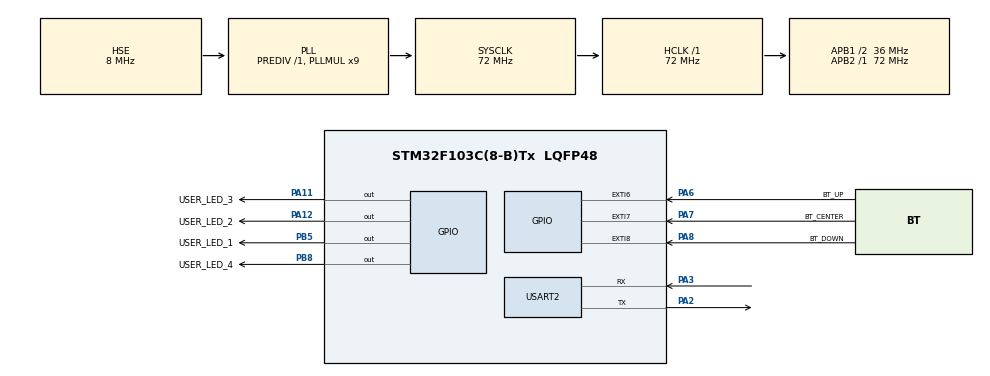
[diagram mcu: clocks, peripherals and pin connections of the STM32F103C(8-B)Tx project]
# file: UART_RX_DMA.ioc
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Dma.Request0=USART2_RX
Dma.Request1=USART2_TX
Dma.USART2_RX.0.Direction=DMA_PERIPH_TO_MEMORY
Dma.USART2_RX.0.Instance=DMA1_Channel6
Dma.USART2_RX.0.MemDataAlignment=DMA_MDATAALIGN_BYTE
Dma.USART2_RX.0.MemInc=DMA_MINC_ENABLE
Dma.USART2_RX.0.Mode=DMA_CIRCULAR
Dma.USART2_RX.0.PeriphDataAlignment=DMA_PDATAALIGN_BYTE
Dma.USART2_RX.0.PeriphInc=DMA_PINC_DISABLE
Dma.USART2_RX.0.Priority=DMA_PRIORITY_VERY_HIGH
Dma.USART2_TX.1.Direction=DMA_MEMORY_TO_PERIPH
Dma.USART2_TX.1.Instance=DMA1_Channel7
Dma.USART2_TX.1.MemDataAlignment=DMA_MDATAALIGN_BYTE
Dma.USART2_TX.1.MemInc=DMA_MINC_ENABLE
Dma.USART2_TX.1.Mode=DMA_NORMAL
Dma.USART2_TX.1.PeriphDataAlignment=DMA_PDATAALIGN_BYTE
Dma.USART2_TX.1.PeriphInc=DMA_PINC_DISABLE
Dma.USART2_TX.1.Priority=DMA_PRIORITY_VERY_HIGH
Mcu.Family=STM32F1
Mcu.Name=STM32F103C(8-B)Tx
Mcu.Package=LQFP48
NVIC.DMA1_Channel6_IRQn=true\:1\:0\:true\:false\:true\:false\:true
NVIC.DMA1_Channel7_IRQn=true\:1\:0\:true\:false\:true\:false\:true
NVIC.EXTI9_5_IRQn=true\:2\:0\:true\:false\:true\:true\:true
NVIC.PriorityGroup=NVIC_PRIORITYGROUP_4
NVIC.TIM4_IRQn=true\:0\:0\:false\:false\:true\:false\:true
NVIC.TimeBase=TIM4_IRQn
NVIC.TimeBaseIP=TIM4
NVIC.USART2_IRQn=true\:0\:0\:false\:false\:true\:true\:true
PA11.GPIO_Label=USER_LED_3
PA11.Signal=GPIO_Output
PA12.GPIO_Label=USER_LED_2
PA12.Signal=GPIO_Output
PA13.Mode=Serial_Wire
PA13.Signal=SYS_JTMS-SWDIO
PA14.Mode=Serial_Wire
PA14.Signal=SYS_JTCK-SWCLK
PA2.Mode=Asynchronous
PA2.Signal=USART2_TX
PA3.Mode=Asynchronous
PA3.Signal=USART2_RX
PA6.GPIO_Label=BT_UP
PA6.GPIO_ModeDefaultEXTI=GPIO_MODE_IT_FALLING
PA6.GPIO_PuPd=GPIO_PULLUP
PA6.Signal=GPXTI6
PA7.GPIO_Label=BT_CENTER
PA7.GPIO_ModeDefaultEXTI=GPIO_MODE_IT_FALLING
PA7.GPIO_PuPd=GPIO_PULLUP
PA7.Signal=GPXTI7
PA8.GPIO_Label=BT_DOWN
PA8.GPIO_ModeDefaultEXTI=GPIO_MODE_IT_FALLING
PA8.GPIO_PuPd=GPIO_PULLUP
PA8.Signal=GPXTI8
PB5.GPIO_Label=USER_LED_1
PB5.Signal=GPIO_Output
PB8.GPIO_Label=USER_LED_4
PB8.Signal=GPIO_Output
PD0-OSC_IN.Mode=HSE-External-Oscillator
PD0-OSC_IN.Signal=RCC_OSC_IN
PD1-OSC_OUT.Mode=HSE-External-Oscillator
PD1-OSC_OUT.Signal=RCC_OSC_OUT
ProjectManager.HeapSize=0x200
ProjectManager.StackSize=0x400
ProjectManager.TargetToolchain=STM32CubeIDE
RCC.AHBFreq_Value=72000000
RCC.APB1CLKDivider=RCC_HCLK_DIV2
RCC.APB1Freq_Value=36000000
RCC.APB1TimFreq_Value=72000000
RCC.APB2Freq_Value=72000000
RCC.APB2TimFreq_Value=72000000
RCC.HCLKFreq_Value=72000000
RCC.PLLMUL=RCC_PLL_MUL9
RCC.PLLSourceVirtual=RCC_PLLSOURCE_HSE
RCC.SYSCLKFreq_VALUE=72000000
RCC.SYSCLKSource=RCC_SYSCLKSOURCE_PLLCLK
RCC.USBFreq_Value=72000000
USART2.VirtualMode=VM_ASYNC
VP_SYS_VS_tim4.Mode=TIM4
board=custom

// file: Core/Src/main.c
/* USER CODE BEGIN Header */
/**
 *******************************************************************************
 * @file           : main.c
 * @brief          : Main program body
 ******************************************************************************
 * @attention
 *
 * <h2><center>&copy; Copyright (c) 2020 STMicroelectronics.
 * All rights reserved.</center></h2>
 *
 * This software component is licensed by ST under Ultimate Liberty license
 * SLA0044, the "License"; You may not use this file except in compliance with
 * the License. You may obtain a copy of the License at:
 *                             www.st.com/SLA0044
 *
 ******************************************************************************
 */
/* USER CODE END Header */
#include "main.h"

/* USER CODE BEGIN Includes */
//#include "myLib.h"
/* USER CODE END Includes */

/* USER CODE BEGIN PV */

/* Buffer that store USART data via DMA */

volatile uint8_t usart_dma_rx_buffer[USART_DMA_RX_BUFFER_SIZE];

uint8_t usart_rx_data[USART_DMA_RX_BUFFER_SIZE];
/* Total Error during init procedure */

/* Store pos in string */
static volatile char aPos[5];

/* Use in SUPERLOOP */
static uint32_t prev_halt_led_tick;
static uint32_t prev_menu_tick;

/* USART Pointer offset */
uint32_t prev_dma_pos = 0;
uint32_t current_dma_pos = 0;
/* USER CODE END PV */

void SystemClock_Config(void);
static void MX_GPIO_Init(void);
static void MX_USART2_UART_Init(void);
/* USER CODE BEGIN PFP */
void DMAPostUpdate(void);
uint8_t isNewString(void);
static void parseCLI(uint8_t *str);
/* USER CODE END PFP */

int main(void)
{

	/* MCU Configuration--------------------------------------------------------*/

	/* Reset of all peripherals, Initializes the Flash interface and the Systick. */
	HAL_Init();

	/* Configure the system clock */
	SystemClock_Config();

	/* Initialize all configured peripherals */
	MX_GPIO_Init();
	MX_USART2_UART_Init();
	offAllLed;
	/* USER CODE BEGIN 2 */

	prev_halt_led_tick = HAL_GetTick();
	prev_menu_tick = HAL_GetTick();
	/* USER CODE END 2 */

	/* Infinite loop */
	/* USER CODE BEGIN WHILE */
	PRINTF("################################################################################################\r\n");
	PRINTF("Project name: UART_DMA_RX_IT-TERMINAL_COMMAND\r\n");
	PRINTF("**********************************SHORT DESCRIPTION******************************\r\n");
	PRINTF("This project provides users with USART-CLI, using DMA_RX_HC_TC_IT and USART_IDLE ");
	PRINTF("method to receive user input data, type \"help\"to view all supported command \r\n");
	PRINTF("*********************************************************************************\r\n");
	PRINTF("Run Application\r\n");
	while (1)
	{

		if (HAL_GetTick() - prev_halt_led_tick >= LED_CHECK_HALT_DELAY)
		{
			prev_halt_led_tick = HAL_GetTick();
			toggleLed4;
		}

		if (HAL_GetTick() - prev_menu_tick >= USART_MENU_DELAY)
		{
			if (isNewString())
			{
				parseCLI((uint8_t *)usart_rx_data);
			}
			prev_menu_tick = HAL_GetTick();
		}
	}
}

void SystemClock_Config(void)
{
	RCC_OscInitTypeDef RCC_OscInitStruct = {0};
	RCC_ClkInitTypeDef RCC_ClkInitStruct = {0};

	/** Initializes the RCC Oscillators according to the specified parameters
	 * in the RCC_OscInitTypeDef structure.
	 */
	RCC_OscInitStruct.OscillatorType = RCC_OSCILLATORTYPE_HSE;
	RCC_OscInitStruct.HSEState = RCC_HSE_ON;
	RCC_OscInitStruct.HSEPredivValue = RCC_HSE_PREDIV_DIV1;
	RCC_OscInitStruct.HSIState = RCC_HSI_ON;
	RCC_OscInitStruct.PLL.PLLState = RCC_PLL_ON;
	RCC_OscInitStruct.PLL.PLLSource = RCC_PLLSOURCE_HSE;
	RCC_OscInitStruct.PLL.PLLMUL = RCC_PLL_MUL9;
	if (HAL_RCC_OscConfig(&RCC_OscInitStruct) != HAL_OK)
	{
		Error_Handler();
	}
	/** Initializes the CPU, AHB and APB buses clocks
	 */
	RCC_ClkInitStruct.ClockType = RCC_CLOCKTYPE_HCLK | RCC_CLOCKTYPE_SYSCLK | RCC_CLOCKTYPE_PCLK1 | RCC_CLOCKTYPE_PCLK2;
	RCC_ClkInitStruct.SYSCLKSource = RCC_SYSCLKSOURCE_PLLCLK;
	RCC_ClkInitStruct.AHBCLKDivider = RCC_SYSCLK_DIV1;
	RCC_ClkInitStruct.APB1CLKDivider = RCC_HCLK_DIV2;
	RCC_ClkInitStruct.APB2CLKDivider = RCC_HCLK_DIV1;
	if (HAL_RCC_ClockConfig(&RCC_ClkInitStruct, FLASH_LATENCY_2) != HAL_OK)
	{
		Error_Handler();
	}
}

static void MX_USART2_UART_Init(void)
{
	/* USER CODE BEGIN USART2_Init 0 */
	/* LL_DMA_InitTypeDef DMA_TX_Handle = {0}; */
	LL_DMA_InitTypeDef DMA_RX_Handle = {0};
	LL_USART_InitTypeDef USART_InitStruct = {0};
	LL_GPIO_InitTypeDef GPIO_InitStruct = {0};

	/* Peripheral clock enable */
	LL_APB1_GRP1_EnableClock(LL_APB1_GRP1_PERIPH_USART2);
	LL_APB2_GRP1_EnableClock(LL_APB2_GRP1_PERIPH_GPIOA);
	LL_AHB1_GRP1_EnableClock(LL_AHB1_GRP1_PERIPH_DMA1);

	HAL_NVIC_SetPriorityGrouping(NVIC_PRIORITYGROUP_4);
	/*
	 * USART2 GPIO Configuration
	 * PA2   ------> USART2_TX
	 * PA3   ------> USART2_RX
	 */
	GPIO_InitStruct.Pin = LL_GPIO_PIN_2;
	GPIO_InitStruct.Mode = LL_GPIO_MODE_ALTERNATE;
	GPIO_InitStruct.Speed = LL_GPIO_MODE_OUTPUT_50MHz;
	GPIO_InitStruct.OutputType = LL_GPIO_OUTPUT_PUSHPULL;
	LL_GPIO_Init(GPIOA, &GPIO_InitStruct);

	GPIO_InitStruct.Pin = LL_GPIO_PIN_3;
	GPIO_InitStruct.Mode = LL_GPIO_MODE_FLOATING;
	LL_GPIO_Init(GPIOA, &GPIO_InitStruct);

	/* USART2 DMA Init */
	/* Configure DMA for USART RX - DMA channel 6 */

	LL_DMA_StructInit(&DMA_RX_Handle);
	/* Configure target buffer that DMA will copy data from USART_RX into this */
	DMA_RX_Handle.MemoryOrM2MDstAddress = (uint32_t)usart_dma_rx_buffer;
	DMA_RX_Handle.PeriphOrM2MSrcAddress = (uint32_t)&USART2->DR;
	/* Configure number of data DMA have to send before reach Transfer Completed IT */
	DMA_RX_Handle.NbData = USART_DMA_RX_BUFFER_SIZE;
	DMA_RX_Handle.Priority = LL_DMA_PRIORITY_VERYHIGH;
	DMA_RX_Handle.Direction = LL_DMA_DIRECTION_PERIPH_TO_MEMORY;
	DMA_RX_Handle.Mode = LL_DMA_MODE_CIRCULAR;
	DMA_RX_Handle.MemoryOrM2MDstIncMode = LL_DMA_MEMORY_INCREMENT;
	DMA_RX_Handle.PeriphOrM2MSrcIncMode = LL_DMA_PERIPH_NOINCREMENT;
	DMA_RX_Handle.PeriphOrM2MSrcDataSize = LL_DMA_PDATAALIGN_BYTE;
	DMA_RX_Handle.MemoryOrM2MDstDataSize = LL_DMA_MDATAALIGN_BYTE;
	LL_DMA_Init(DMA1, LL_DMA_CHANNEL_6, &DMA_RX_Handle);

	/* Enable DMA1 Channel 6 Tranmission Complete Interrupt - bit mask DMA_CCR_TCIE & DMA_CCR_HTIE*/
	/* Enable HT & TC interrupts */
	LL_DMA_EnableIT_HT(DMA1, LL_DMA_CHANNEL_6);
	LL_DMA_EnableIT_TC(DMA1, LL_DMA_CHANNEL_6);

	/* DMA1_Channel6_IRQn interrupt configuration */
	HAL_NVIC_SetPriority(DMA1_Channel6_IRQn, 0, 0);
	HAL_NVIC_EnableIRQ(DMA1_Channel6_IRQn);

	/* USER CODE BEGIN USART2_Init 1 */
	USART_InitStruct.BaudRate = 115200;
	USART_InitStruct.DataWidth = LL_USART_DATAWIDTH_8B;
	USART_InitStruct.StopBits = LL_USART_STOPBITS_1;
	USART_InitStruct.Parity = LL_USART_PARITY_NONE;
	USART_InitStruct.TransferDirection = LL_USART_DIRECTION_TX_RX;
	USART_InitStruct.HardwareFlowControl = LL_USART_HWCONTROL_NONE;
	USART_InitStruct.OverSampling = LL_USART_OVERSAMPLING_16;
	LL_USART_Init(USART2, &USART_InitStruct);

	/* Enabling use in Asynchronous Mode (UART) */
	LL_USART_ConfigAsyncMode(USART2);
	/* Enable RX DMA Request - bitmask USART_CR3_DMAR*/
	LL_USART_EnableDMAReq_RX(USART2);
	/* Enable IDLE Interrupt - bitmask USART_CR1_IDLEIE*/
	LL_USART_EnableIT_IDLE(USART2);

	/* USART2 interrupt Init */
	HAL_NVIC_SetPriority(USART2_IRQn, 0, 0);
	HAL_NVIC_EnableIRQ(USART2_IRQn);

	/* Start USART2 - bitmask USART_CR1_UE */
	LL_USART_Enable(USART2);
	/* Enable DMA USART RX Stream DMA_CCR_EN*/
	LL_DMA_EnableChannel(DMA1, LL_DMA_CHANNEL_6);
}

static void MX_GPIO_Init(void)
{
	GPIO_InitTypeDef GPIO_InitStruct = {0};

	/* GPIO Ports Clock Enable */
	__HAL_RCC_GPIOD_CLK_ENABLE();
	__HAL_RCC_GPIOA_CLK_ENABLE();
	__HAL_RCC_GPIOB_CLK_ENABLE();

	/*Configure GPIO pin Output Level */
	HAL_GPIO_WritePin(GPIOA, USER_LED_3_Pin | USER_LED_2_Pin, GPIO_PIN_RESET);

	/*Configure GPIO pin Output Level */
	HAL_GPIO_WritePin(GPIOB, USER_LED_1_Pin | USER_LED_4_Pin, GPIO_PIN_RESET);

	/*Configure GPIO pins : BT_UP_Pin BT_CENTER_Pin BT_DOWN_Pin */
	GPIO_InitStruct.Pin = BT_UP_Pin | BT_CENTER_Pin | BT_DOWN_Pin;
	GPIO_InitStruct.Mode = GPIO_MODE_IT_FALLING;
	GPIO_InitStruct.Pull = GPIO_PULLUP;
	HAL_GPIO_Init(GPIOA, &GPIO_InitStruct);

	/*Configure GPIO pins : USER_LED_3_Pin USER_LED_2_Pin */
	GPIO_InitStruct.Pin = USER_LED_3_Pin | USER_LED_2_Pin;
	GPIO_InitStruct.Mode = GPIO_MODE_OUTPUT_PP;
	GPIO_InitStruct.Pull = GPIO_NOPULL;
	GPIO_InitStruct.Speed = GPIO_SPEED_FREQ_LOW;
	HAL_GPIO_Init(GPIOA, &GPIO_InitStruct);

	/*Configure GPIO pins : USER_LED_1_Pin USER_LED_4_Pin */
	GPIO_InitStruct.Pin = USER_LED_1_Pin | USER_LED_4_Pin;
	GPIO_InitStruct.Mode = GPIO_MODE_OUTPUT_PP;
	GPIO_InitStruct.Pull = GPIO_NOPULL;
	GPIO_InitStruct.Speed = GPIO_SPEED_FREQ_LOW;
	HAL_GPIO_Init(GPIOB, &GPIO_InitStruct);

	/* EXTI interrupt init*/
	HAL_NVIC_SetPriority(EXTI9_5_IRQn, 2, 0);
	HAL_NVIC_EnableIRQ(EXTI9_5_IRQn);
}

/* USER CODE BEGIN 4 */
void DMAPostUpdate(void)
{
	toggleLed1;
	/* Calculate current position in buffer */
	/**
	 * LL_DMA_GetDataLength() returns number of slot left in DMA buffer
	 * ex: user string has its length = 15, DMA buffer's full size is 100 then after transfer completed the number of slot left is 100-15=85
	 * ==> DMA currently points to position number 15
	 */
	current_dma_pos = USART_DMA_RX_BUFFER_SIZE - LL_DMA_GetDataLength(DMA1, LL_DMA_CHANNEL_6);
}

/**
 * @brief Parse user string into a buffer
 *
 * @return uint8_t 1 if receive a new string, else return 0
 */
uint8_t isNewString(void)
{
	uint32_t index = 0, i = 0;
	uint8_t is_new_string_flag = 0;
	if (current_dma_pos != prev_dma_pos)
	{
		/* Check change in received data */
		printVar(prev_dma_pos);
		printVar(current_dma_pos);

		/* New string received flag set */
		is_new_string_flag = 1;

		/* Reset USART received_buffer */
		memset(usart_rx_data, 0, USART_DMA_RX_BUFFER_SIZE);
		if (current_dma_pos > prev_dma_pos)
		/* Case 1: DMA's not full and data is added to the right */
		{
			/*
				FCurrent position is over previous one
			 	We are in "linear" mode
				Process data directly by subtracting "pointers"
 			*/
			for (i = prev_dma_pos; i < current_dma_pos; i++)
			{
				usart_rx_data[index] = usart_dma_rx_buffer[i];
				index++;
			}
		}
		else
		/* current_dma_pos < prev_dma_pos: Case 2: DMA's is overflow and DMA points back to base position*/
		{
			/* We are in "overflow" mode */

			/* First process data to the end of buffer */
			for (i = prev_dma_pos; i < USART_DMA_RX_BUFFER_SIZE; i++)
			{
				usart_rx_data[index] = usart_dma_rx_buffer[i];
				index++;
			}
			/* Then process from begin to current position */
			for (i = 0; i < current_dma_pos; i++)
			{
				usart_rx_data[index] = usart_dma_rx_buffer[i];
				index++;
			}
		}
		/* current position becomes old one */
		prev_dma_pos = current_dma_pos;
	}
	/* Check and manually update if we reached end of buffer */
	if (prev_dma_pos == USART_DMA_RX_BUFFER_SIZE)
	{
		prev_dma_pos = 0;
	}
	return is_new_string_flag;
}

/**
 * @brief Compare user string to proceed a command if equal
 *
 * @param str
 */
static void parseCLI(uint8_t *str)
{
	PRINTF(usart_rx_data);
	newline;
	if (isString(str, "led3 1\r"))
	{
		onLed3;
		return;
	}
	if (isString(str, "led3 0\r"))
	{
		offLed3;
		return;
	}
	if (isString(str, "led2 1\r"))
	{
		onLed2;
		return;
	}
	if (isString(str, "led2 0\rn"))
	{
		offLed2;
		return;
	}
	if (isString(str, "leds 1\r"))
	{
		onAllLed;
		return;
	}
	if (isString(str, "leds 0\r"))
	{
		offAllLed;
		return;
	}
	if (isString(str, "help\r"))
	{
		newline;
		PRINTF("---------HELP MENU---------\r\n");
		PRINTF("leds <state>: control state of all leds\r\n");
		PRINTF("led<x> <state>: control state of led x\r\n");
		PRINTF("1: ON, 0: OFF\r\n\r\n");
		return;
	}
	PRINTF("ERROR: unknown command");
	newline;
	newline;
}
/* USER CODE END 4 */

void HAL_TIM_PeriodElapsedCallback(TIM_HandleTypeDef *htim)
{
	if (htim->Instance == TIM4)
	{
		HAL_IncTick();
	}
}

void Error_Handler(void)
{
}

#ifdef USE_FULL_ASSERT
/**
  * @brief  Reports the name of the source file and the source line number
  *         where the assert_param error has occurred.
  * @param  file: pointer to the source file name
  * @param  line: assert_param error line source number
  * @retval None
  */
void assert_failed(uint8_t *file, uint32_t line)
{
	/* USER CODE BEGIN 6 */
	/* User can add his own implementation to report the file name and line number,
     tex: PRINTF("Wrong parameters value: file %s on line %d\r\n", file, line) */
	/* USER CODE END 6 */
}
#endif /* USE_FULL_ASSERT */

/************************ (C) COPYRIGHT STMicroelectronics *****END OF FILE****/
